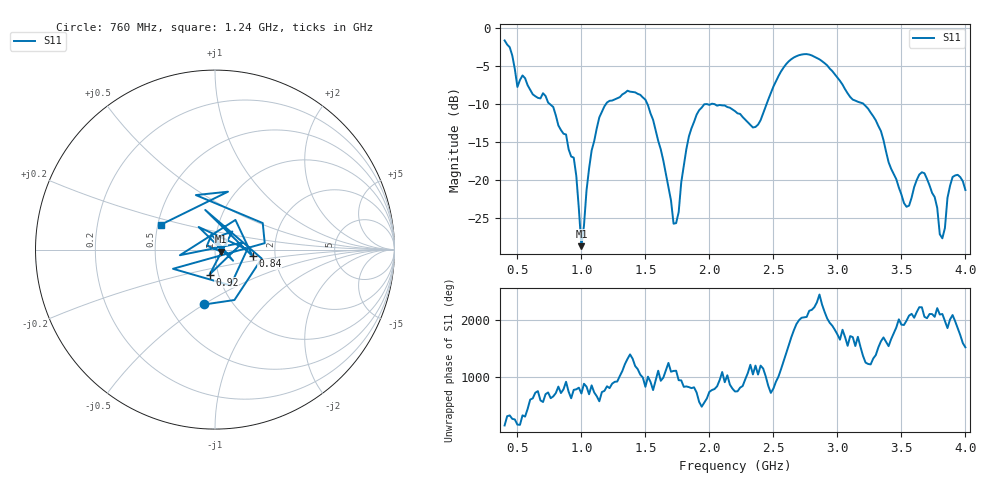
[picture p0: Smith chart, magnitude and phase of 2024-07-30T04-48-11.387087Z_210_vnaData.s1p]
!Created with skrf (http://scikit-rf.org).
# Hz S RI R 50.0
!freq ReS11 ImS11
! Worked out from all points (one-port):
!   181 points, 400 MHz to 4 GHz, reference 50 ohm
!   lowest |S11| = -28.8 dB at 1 GHz (marker M1), VSWR 1.08, Z = 53.6 - j1.2 ohm
!   |S11| at or under -10 dB: 750.6 MHz to 1.194 GHz (443 MHz wide, 45.6 % of centre); 1.515 GHz to 2.02 GHz (505 MHz wide, 28.6 % of centre); 3.202 GHz to end of sweep (the widest 3 of 4)
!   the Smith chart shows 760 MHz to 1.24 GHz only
!   S11 on the Smith chart (normalised r, x): 760 MHz: 0.74, -0.50; 840 MHz: 1.52, -0.12; 920 MHz: 0.91, -0.26; 1.24 GHz: 0.52, +0.16
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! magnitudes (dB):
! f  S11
! 400 MHz  -1.7
! 500 MHz  -7.8
! 760 MHz  -10.1
! 840 MHz  -13.5
! 860 MHz  -13.9
! 920 MHz  -16.9
! 960 MHz  -19.5
! 1 GHz  -28.8
! 1.08 GHz  -16.2
! 1.24 GHz  -9.6
! 1.3 GHz  -9.1
! 1.5 GHz  -9.5
! 1.64 GHz  -17.5
! 1.72 GHz  -25.8
! 1.76 GHz  -24.3
! 1.82 GHz  -16.0
! 1.9 GHz  -11.4
! 2.2 GHz  -11.0
! 2.38 GHz  -12.8
! 2.66 GHz  -3.9
! 2.86 GHz  -4.2
! 3.1 GHz  -9.1
! 3.3 GHz  -12.2
! 3.56 GHz  -23.4
! 3.68 GHz  -19.2
! 3.82 GHz  -27.7
! 3.9 GHz  -19.7
! 4 GHz  -21.4
